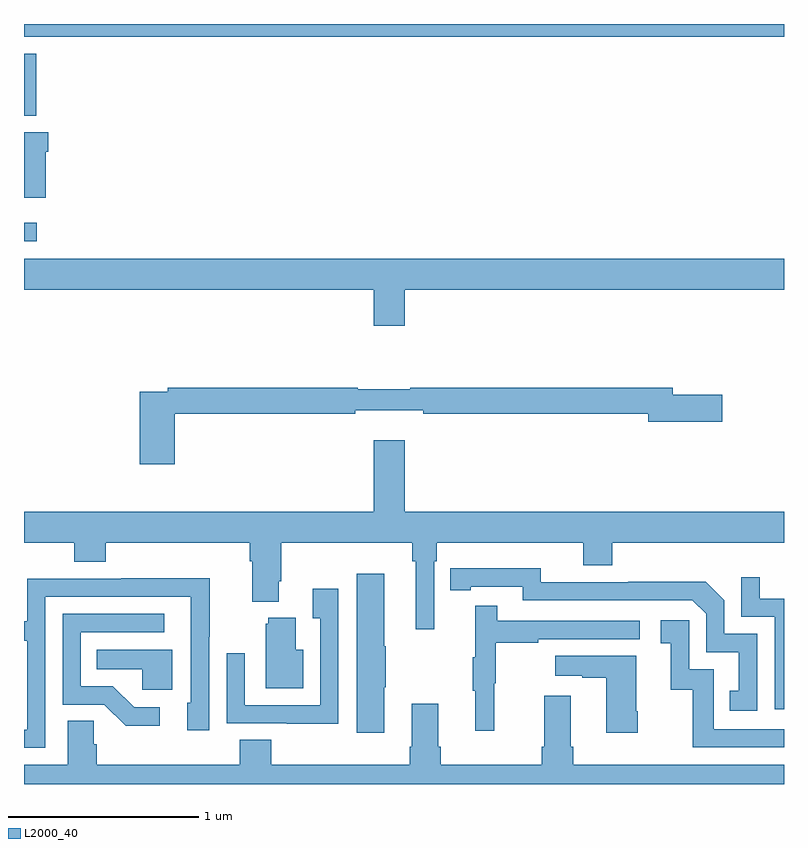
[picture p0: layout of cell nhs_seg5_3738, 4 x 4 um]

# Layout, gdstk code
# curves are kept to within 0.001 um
import gdstk
lib = gdstk.Library(unit=1e-6, precision=1e-09)
def R(c, l, rs):  # rectangles x0, y0, x1, y1
    for r in rs: c.add(gdstk.rectangle(r[:2], r[2:], *l))
def P(c, l, *ps):  # polygons
    for p in ps: c.add(gdstk.Polygon(p, *l))
L2000_40 = (2000, 40)

nhs_seg5_3738 = lib.new_cell('nhs_seg5_3738')
R(nhs_seg5_3738, L2000_40, [(331,883.656,331.066,883.753), (331,884.315,331.064,884.643), (331,884.732,335,884.799)])
P(nhs_seg5_3738, L2000_40, [(331.114,884.126),(331.127,884.126),(331.127,884.23),(331,884.23),(331,883.884),(331.114,883.884)],
  [(333.004,883.4),(335,883.4),(335,883.564),(331,883.564),(331,883.4),(332.84,883.4),(332.84,883.212),(333.004,883.212)],
  [(331.793,882.748),(332.744,882.748),(332.744,882.767),(333.1,882.767),(333.1,882.748),(334.286,882.748),(334.286,882.706),(334.675,882.706),(334.675,882.848),(334.414,882.848),(334.414,882.884),(333.033,882.884),(333.033,882.877),(332.756,882.877),(332.756,882.884),(331.756,882.884),(331.756,882.864),(331.61,882.864),(331.61,882.483),(331.793,882.483)],
  [(333.159,881.972),(333.173,881.972),(333.173,882.068),(333.944,882.068),(333.944,881.951),(334.097,881.951),(334.097,882.068),(335,882.068),(335,882.232),(333.004,882.232),(333.004,882.607),(332.84,882.607),(332.84,882.232),(331,882.232),(331,882.068),(331.265,882.068),(331.265,881.969),(331.43,881.969),(331.43,882.068),(332.189,882.068),(332.189,881.972),(332.201,881.972),(332.201,881.759),(332.341,881.759),(332.341,881.866),(332.354,881.866),(332.354,882.068),(333.043,882.068),(333.043,881.972),(333.062,881.972),(333.062,881.613),(333.159,881.613)],
  [(334.86,881.589),(334.686,881.589),(334.686,881.766),(334.588,881.864),(334.18,881.864),(334.18,881.862),(333.72,881.862),(333.72,881.935),(333.244,881.934),(333.244,881.818),(333.352,881.818),(333.352,881.838),(333.624,881.838),(333.624,881.766),(334.518,881.766),(334.59,881.694),(334.59,881.493),(334.763,881.493),(334.763,881.289),(334.714,881.289),(334.714,881.184),(334.86,881.184)],
  [(332.896,881.308),(332.904,881.308),(332.904,881.525),(332.896,881.525),(332.896,881.905),(332.75,881.905),(332.75,881.07),(332.896,881.07)],
  [(335,881.775),(334.873,881.775),(334.873,881.887),(334.776,881.887),(334.776,881.679),(334.95,881.679),(334.95,881.193),(335,881.193)],
  [(331.113,881.784),(331.877,881.784),(331.877,881.53),(331.878,881.53),(331.878,881.226),(331.859,881.226),(331.859,881.082),(331.974,881.082),(331.974,881.575),(331.977,881.575),(331.977,881.882),(331.513,881.882),(331.513,881.88),(331.017,881.88),(331.017,881.655),(331,881.655),(331,881.554),(331.017,881.554),(331.017,881.085),(331,881.085),(331,880.989),(331.113,880.989)],
  [(332.655,881.827),(332.519,881.827),(332.519,881.671),(332.559,881.671),(332.559,881.214),(332.163,881.214),(332.163,881.488),(332.067,881.488),(332.067,881.118),(332.383,881.118),(332.383,881.117),(332.655,881.117)],
  [(333.476,881.328),(333.484,881.328),(333.484,881.542),(333.707,881.542),(333.707,881.562),(334.24,881.562),(334.24,881.658),(333.491,881.658),(333.491,881.737),(333.374,881.737),(333.374,881.465),(333.363,881.465),(333.363,881.291),(333.374,881.291),(333.374,881.079),(333.476,881.079)],
  [(331.714,881.202),(331.579,881.202),(331.468,881.313),(331.299,881.313),(331.299,881.598),(331.738,881.598),(331.738,881.694),(331.203,881.694),(331.203,881.217),(331.422,881.217),(331.535,881.105),(331.714,881.105)],
  [(332.47,881.506),(332.431,881.506),(332.431,881.674),(332.285,881.674),(332.285,881.643),(332.273,881.643),(332.273,881.303),(332.47,881.303)],
  [(335,881.088),(334.629,881.088),(334.629,881.403),(334.5,881.403),(334.5,881.662),(334.35,881.662),(334.35,881.541),(334.403,881.541),(334.403,881.295),(334.521,881.295),(334.521,880.992),(335,880.992)],
  [(331.78,881.506),(331.384,881.506),(331.384,881.402),(331.623,881.402),(331.623,881.294),(331.78,881.294)],
  [(334.23,881.182),(334.222,881.182),(334.222,881.473),(333.795,881.473),(333.795,881.369),(333.938,881.369),(333.938,881.359),(334.064,881.359),(334.064,881.07),(334.23,881.07)],
  [(335,880.9),(333.89,880.9),(333.89,880.996),(333.877,880.996),(333.877,881.263),(333.737,881.263),(333.737,880.996),(333.725,880.996),(333.725,880.9),(333.194,880.9),(333.194,880.996),(333.181,880.996),(333.181,881.221),(333.041,881.221),(333.041,880.996),(333.029,880.996),(333.029,880.9),(332.3,880.9),(332.3,881.033),(332.135,881.033),(332.135,880.9),(331.382,880.9),(331.382,881.009),(331.368,881.009),(331.368,881.132),(331.229,881.132),(331.229,880.9),(331,880.9),(331,880.799),(335,880.799)])

lib.write_gds('nhs_seg5_3738.gds')
